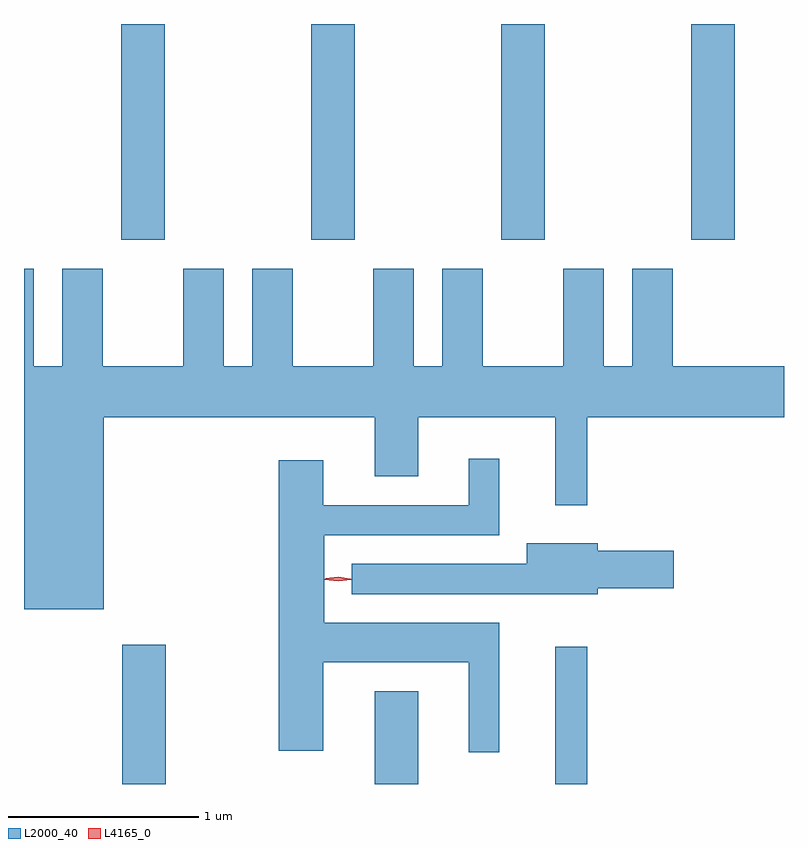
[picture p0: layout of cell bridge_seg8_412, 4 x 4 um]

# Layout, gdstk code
import gdstk
lib = gdstk.Library(unit=1e-6, precision=1e-09)
def R(c, l, rs):  # rectangles x0, y0, x1, y1
    for r in rs: c.add(gdstk.rectangle(r[:2], r[2:], *l))
def A(c, l, x, y, w, h, nx, ny, dx, dy):  # array of equal rectangles
    R(c, l, [(x+i*dx, y+j*dy, x+i*dx+w, y+j*dy+h) for i in range(nx) for j in range(ny)])
def P(c, l, *ps):  # polygons
    for p in ps: c.add(gdstk.Polygon(p, *l))
L2000_40 = (2000, 40)
L4165_0 = (4165, 0)

bridge_seg8_412 = lib.new_cell('bridge_seg8_412')
A(bridge_seg8_412, L2000_40, 816.826, 1819.591, 0.228, 1.135, 4, 1, 1, 0)
R(bridge_seg8_412, L2000_40, [(816.831,1816.726,817.059,1817.459), (818.161,1816.726,818.389,1817.214), (819.111,1816.726,819.279,1817.448)])
P(bridge_seg8_412, L2000_40, [(816.734,1818.656),(818.161,1818.656),(818.161,1818.346),(818.389,1818.346),(818.389,1818.656),(819.111,1818.656),(819.111,1818.193),(819.279,1818.193),(819.279,1818.656),(820.314,1818.656),(820.314,1818.924),(819.729,1818.924),(819.729,1819.439),(819.516,1819.439),(819.516,1818.924),(819.364,1818.924),(819.364,1819.439),(819.151,1819.439),(819.151,1818.924),(818.729,1818.924),(818.729,1819.439),(818.516,1819.439),(818.516,1818.924),(818.364,1818.924),(818.364,1819.439),(818.151,1819.439),(818.151,1818.924),(817.729,1818.924),(817.729,1819.439),(817.516,1819.439),(817.516,1818.924),(817.364,1818.924),(817.364,1819.439),(817.151,1819.439),(817.151,1818.924),(816.729,1818.924),(816.729,1819.439),(816.516,1819.439),(816.516,1818.924),(816.364,1818.924),(816.364,1819.439),(816.314,1819.439),(816.314,1817.646),(816.734,1817.646)],
  [(818.814,1817.574),(817.894,1817.574),(817.894,1818.036),(818.814,1818.036),(818.814,1818.438),(818.656,1818.438),(818.656,1818.194),(817.889,1818.194),(817.889,1818.429),(817.656,1818.429),(817.656,1816.901),(817.889,1816.901),(817.889,1817.366),(818.656,1817.366),(818.656,1816.893),(818.814,1816.893)],
  [(819.334,1817.756),(819.734,1817.756),(819.734,1817.954),(819.334,1817.954),(819.334,1817.994),(818.961,1817.994),(818.961,1817.884),(818.038,1817.884),(818.038,1817.726),(819.334,1817.726)])
P(bridge_seg8_412, L4165_0, [(817.967,1817.792),(817.898,1817.802),(817.897,1817.802),(817.898,1817.803),(817.967,1817.812),(818.036,1817.803),(818.036,1817.802),(818.036,1817.802)],
  [(817.966,1817.796),(817.901,1817.807),(817.9,1817.807),(817.901,1817.808),(817.967,1817.816),(818.032,1817.805),(818.033,1817.805),(818.032,1817.804)])

lib.write_gds('bridge_seg8_412.gds')
